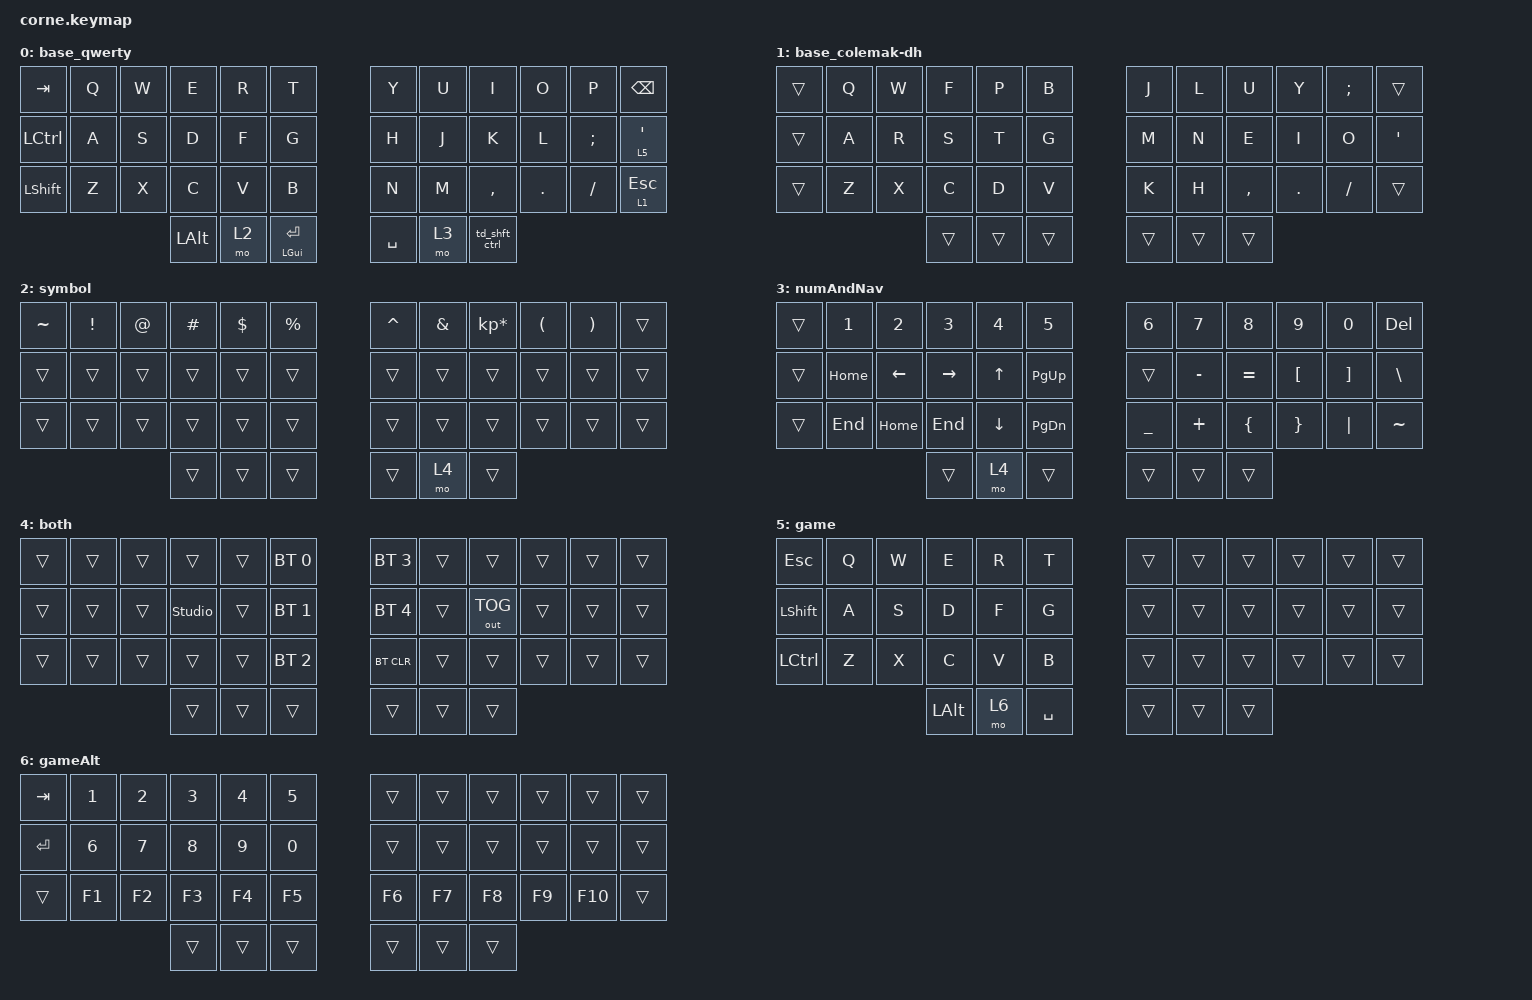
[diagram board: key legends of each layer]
/*
 * Copyright (c) 2020 The ZMK Contributors
 *
 * SPDX-License-Identifier: MIT
 */

#include <behaviors.dtsi>
#include <dt-bindings/zmk/bt.h>
#include <dt-bindings/zmk/keys.h>
#include <dt-bindings/zmk/outputs.h>

// dt-formatter: indent = "  "
// dt-formatter: reindentMultilineIntegerCells = "dedent"

&sk { quick-release; };

&caps_word { continue-list = <UNDERSCORE BACKSPACE DELETE MINUS>; };

/ {
  behaviors {
    hm: homerow_mods {
      compatible = "zmk,behavior-hold-tap";
      label = "HOMEROW_MODS";
      #binding-cells = <2>;
      tapping-term-ms = <150>;
      quick-tap-ms = <0>;
      flavor = "tap-preferred";
      bindings = <&kp>, <&kp>;
    };

    td_shft_ctrl: td_shft_ctrl {
      compatible = "zmk,behavior-tap-dance";
      label = "TD_SHFT_CTRL";
      #binding-cells = <0>;
      bindings = <&sk LSHFT>, <&sk LCTRL>;
    };

    hold_tap_layer_toggle: hold_tap_layer_toggle {
      compatible = "zmk,behavior-hold-tap";
      label = "Hold-tap to toggle layer on hold";
      bindings = <&tog>, <&kp>;

      #binding-cells = <2>;
      flavor = "tap-preferred";
      tapping-term-ms = <500>;
    };
  };

  combos {
    compatible = "zmk,combos";

    delete {
      bindings = <&kp DELETE>;
      key-positions = <27 28>;
    };

    caps_word {
      bindings = <&caps_word>;
      key-positions = <28 31>;
    };

    italics {
      bindings = <&kp LC(I)>;
      key-positions = <32 33>;
    };

    backspace {
      bindings = <&kp BACKSPACE>;
      key-positions = <26 27>;
    };

    capslock {
      bindings = <&kp CAPSLOCK>;
      key-positions = <17 18>;
      require-prior-idle-ms = <150>;
    };

    bold {
      bindings = <&kp LC(B)>;
      key-positions = <31 32>;
      require-prior-idle-ms = <125>;
    };

    underline {
      bindings = <&kp LC(U)>;
      key-positions = <31 32 33>;
    };

    track_changes_MSWord {
      bindings = <&kp LC(LS(E))>;
      key-positions = <26 33>;
    };
  };

  keymap {
    compatible = "zmk,keymap";

    base_qwerty {
      bindings = <
&kp TAB    &kp Q  &kp W  &kp E     &kp R  &kp T              &kp Y      &kp U  &kp I          &kp O    &kp P     &kp BACKSPACE
&kp LCTRL  &kp A  &kp S  &kp D     &kp F  &kp G              &kp H      &kp J  &kp K          &kp L    &kp SEMI  &hold_tap_layer_toggle 5 APOS
&kp LSHFT  &kp Z  &kp X  &kp C     &kp V  &kp B              &kp N      &kp M  &kp COMMA      &kp DOT  &kp FSLH  &hold_tap_layer_toggle 1 ESCAPE
                         &kp LALT  &mo 2  &hm LGUI RETURN    &kp SPACE  &mo 3  &td_shft_ctrl
      >;
    };

    base_colemak-dh {
      bindings = <
&trans  &kp Q  &kp W  &kp F   &kp P   &kp B     &kp J   &kp L   &kp U      &kp Y    &kp SEMI  &trans
&trans  &kp A  &kp R  &kp S   &kp T   &kp G     &kp M   &kp N   &kp E      &kp I    &kp O     &kp SQT
&trans  &kp Z  &kp X  &kp C   &kp D   &kp V     &kp K   &kp H   &kp COMMA  &kp DOT  &kp FSLH  &trans
                      &trans  &trans  &trans    &trans  &trans  &trans
      >;
    };

    symbol {
      bindings = <
&kp TILDE  &kp EXCL  &kp AT  &kp HASH  &kp DOLLAR  &kp PERCENT    &kp CARET  &kp AMPERSAND  &kp KP_MULTIPLY  &kp LEFT_PARENTHESIS  &kp RIGHT_PARENTHESIS  &trans
&trans     &trans    &trans  &trans    &trans      &trans         &trans     &trans         &trans           &trans                &trans                 &trans
&trans     &trans    &trans  &trans    &trans      &trans         &trans     &trans         &trans           &trans                &trans                 &trans
                             &trans    &trans      &trans         &trans     &mo 4          &trans
      >;
    };

    numAndNav {
      bindings = <
&trans  &kp N1    &kp NUMBER_2  &kp NUMBER_3  &kp NUMBER_4  &kp NUMBER_5     &kp NUMBER_6  &kp NUMBER_7  &kp NUMBER_8  &kp NUMBER_9  &kp NUMBER_0  &kp DELETE
&trans  &kp HOME  &kp LEFT      &kp RIGHT     &kp UP        &kp PAGE_UP      &trans        &kp MINUS     &kp EQUAL     &kp LBKT      &kp RBKT      &kp BACKSLASH
&trans  &kp END   &kp HOME      &kp END       &kp DOWN      &kp PAGE_DOWN    &kp UNDER     &kp PLUS      &kp LBRC      &kp RBRC      &kp PIPE      &kp TILDE
                                &trans        &mo 4         &trans           &trans        &trans        &trans
      >;
    };

    both {
      bindings = <
&trans  &trans  &trans  &trans          &trans  &bt BT_SEL 0    &bt BT_SEL 3  &trans  &trans        &trans  &trans  &trans
&trans  &trans  &trans  &studio_unlock  &trans  &bt BT_SEL 1    &bt BT_SEL 4  &trans  &out OUT_TOG  &trans  &trans  &trans
&trans  &trans  &trans  &trans          &trans  &bt BT_SEL 2    &bt BT_CLR    &trans  &trans        &trans  &trans  &trans
                        &trans          &trans  &trans          &trans        &trans  &trans
      >;
    };

    game {
      bindings = <
&kp ESC           &kp Q  &kp W  &kp E     &kp R  &kp T        &trans  &trans  &trans  &trans  &trans  &trans
&kp LSHIFT        &kp A  &kp S  &kp D     &kp F  &kp G        &trans  &trans  &trans  &trans  &trans  &trans
&kp LEFT_CONTROL  &kp Z  &kp X  &kp C     &kp V  &kp B        &trans  &trans  &trans  &trans  &trans  &trans
                                &kp LALT  &mo 6  &kp SPACE    &trans  &trans  &trans
      >;
    };

    gameAlt {
      bindings = <
&kp TAB    &kp N1  &kp N2  &kp N3  &kp N4  &kp N5    &trans  &trans  &trans  &trans  &trans   &trans
&kp ENTER  &kp N6  &kp N7  &kp N8  &kp N9  &kp N0    &trans  &trans  &trans  &trans  &trans   &trans
&trans     &kp F1  &kp F2  &kp F3  &kp F4  &kp F5    &kp F6  &kp F7  &kp F8  &kp F9  &kp F10  &trans
                           &trans  &trans  &trans    &trans  &trans  &trans
      >;
    };
  };
};
